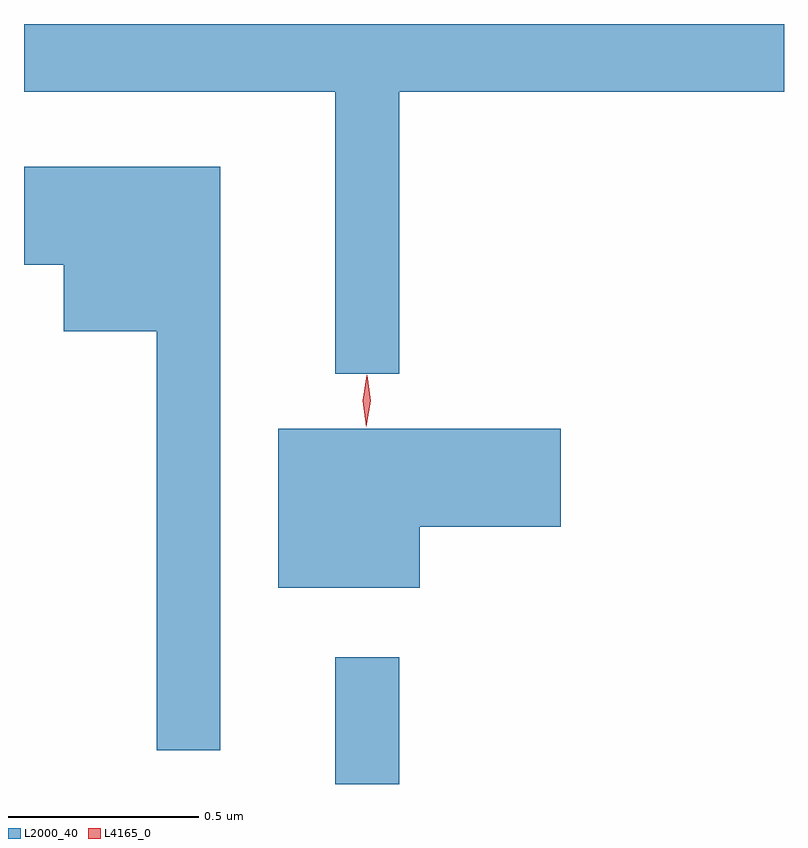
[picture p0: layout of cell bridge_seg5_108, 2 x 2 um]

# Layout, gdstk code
import gdstk
lib = gdstk.Library(unit=1e-6, precision=1e-09)
def R(c, l, rs):  # rectangles x0, y0, x1, y1
    for r in rs: c.add(gdstk.rectangle(r[:2], r[2:], *l))
def P(c, l, *ps):  # polygons
    for p in ps: c.add(gdstk.Polygon(p, *l))
L2000_40 = (2000, 40)
L4165_0 = (4165, 0)

bridge_seg5_108 = lib.new_cell('bridge_seg5_108')
R(bridge_seg5_108, L2000_40, [(1225.371,1486.054,1225.539,1486.388)])
P(bridge_seg5_108, L2000_40, [(1225.539,1487.876),(1226.552,1487.876),(1226.552,1488.054),(1224.552,1488.054),(1224.552,1487.876),(1225.371,1487.876),(1225.371,1487.133),(1225.539,1487.133)],
  [(1225.069,1487.679),(1224.552,1487.679),(1224.552,1487.421),(1224.656,1487.421),(1224.656,1487.246),(1224.901,1487.246),(1224.901,1486.143),(1225.069,1486.143)],
  [(1225.594,1486.731),(1225.964,1486.731),(1225.964,1486.989),(1225.221,1486.989),(1225.221,1486.571),(1225.594,1486.571)])
P(bridge_seg5_108, L4165_0, [(1225.452,1487),(1225.452,1487.001),(1225.444,1487.064),(1225.454,1487.126),(1225.454,1487.127),(1225.455,1487.126),(1225.463,1487.063),(1225.453,1487.001)],
  [(1225.452,1486.994),(1225.444,1487.062),(1225.454,1487.13),(1225.454,1487.13),(1225.455,1487.13),(1225.464,1487.062),(1225.453,1486.994),(1225.453,1486.994)])

lib.write_gds('bridge_seg5_108.gds')
